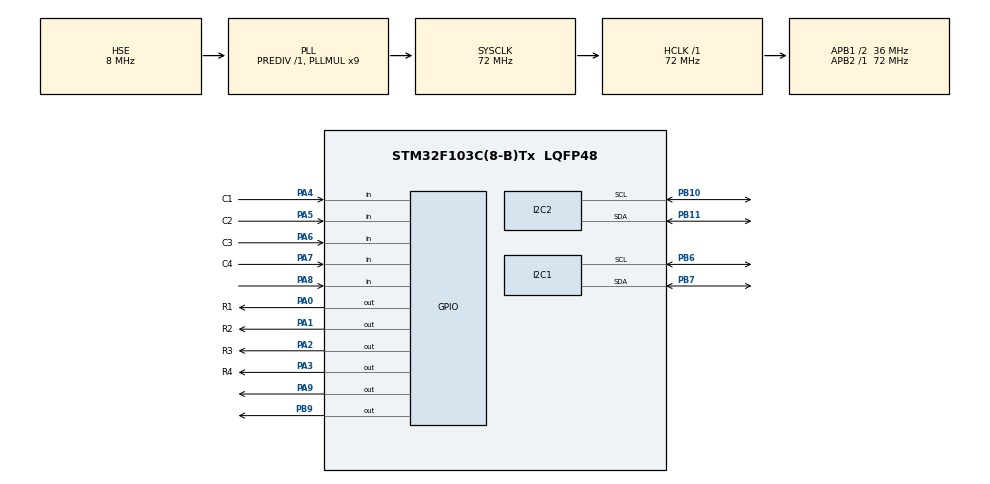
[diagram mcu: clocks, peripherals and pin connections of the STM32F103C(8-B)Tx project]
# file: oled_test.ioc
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I2C1.I2C_Mode=I2C_Fast
I2C2.I2C_Mode=I2C_Fast
Mcu.Family=STM32F1
Mcu.Name=STM32F103C(8-B)Tx
Mcu.Package=LQFP48
NVIC.PriorityGroup=NVIC_PRIORITYGROUP_4
PA0-WKUP.GPIO_Label=R1
PA0-WKUP.Signal=GPIO_Output
PA1.GPIO_Label=R2
PA1.Signal=GPIO_Output
PA13.Mode=Serial_Wire
PA13.Signal=SYS_JTMS-SWDIO
PA14.Mode=Serial_Wire
PA14.Signal=SYS_JTCK-SWCLK
PA2.GPIO_Label=R3
PA2.Signal=GPIO_Output
PA3.GPIO_Label=R4
PA3.Signal=GPIO_Output
PA4.GPIO_Label=C1
PA4.Signal=GPIO_Input
PA5.GPIO_Label=C2
PA5.Signal=GPIO_Input
PA6.GPIO_Label=C3
PA6.Signal=GPIO_Input
PA7.GPIO_Label=C4
PA7.Signal=GPIO_Input
PA8.Signal=GPIO_Input
PA9.Signal=GPIO_Output
PB10.Mode=I2C
PB10.Signal=I2C2_SCL
PB11.Mode=I2C
PB11.Signal=I2C2_SDA
PB6.Mode=I2C
PB6.Signal=I2C1_SCL
PB7.Mode=I2C
PB7.Signal=I2C1_SDA
PB9.Signal=GPIO_Output
PD0-OSC_IN.Mode=HSE-External-Oscillator
PD0-OSC_IN.Signal=RCC_OSC_IN
PD1-OSC_OUT.Mode=HSE-External-Oscillator
PD1-OSC_OUT.Signal=RCC_OSC_OUT
ProjectManager.HeapSize=0x200
ProjectManager.StackSize=0x400
ProjectManager.TargetToolchain=STM32CubeIDE
RCC.AHBFreq_Value=72000000
RCC.APB1CLKDivider=RCC_HCLK_DIV2
RCC.APB1Freq_Value=36000000
RCC.APB1TimFreq_Value=72000000
RCC.APB2Freq_Value=72000000
RCC.APB2TimFreq_Value=72000000
RCC.HCLKFreq_Value=72000000
RCC.PLLMUL=RCC_PLL_MUL9
RCC.PLLSourceVirtual=RCC_PLLSOURCE_HSE
RCC.SYSCLKFreq_VALUE=72000000
RCC.SYSCLKSource=RCC_SYSCLKSOURCE_PLLCLK
RCC.USBFreq_Value=72000000
TIM1.Prescaler=71
VP_TIM1_VS_ClockSourceINT.Mode=Internal
board=custom

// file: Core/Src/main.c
/* USER CODE BEGIN Header */
/**
  ******************************************************************************
  * @file           : main.c
  * @brief          : Main program body
  ******************************************************************************
  * @attention
  *
  * Copyright (c) 2024 STMicroelectronics.
  * All rights reserved.
  *
  * This software is licensed under terms that can be found in the LICENSE file
  * in the root directory of this software component.
  * If no LICENSE file comes with this software, it is provided AS-IS.
  *
  ******************************************************************************
  */
/* USER CODE END Header */
#include "main.h"

/* USER CODE BEGIN Includes */

#include "fonts.h"
#include "ssd1306.h"
#include "stdio.h"

/* USER CODE END Includes */

I2C_HandleTypeDef hi2c1;
I2C_HandleTypeDef hi2c2;

TIM_HandleTypeDef htim1;

/* USER CODE BEGIN PV */

#define TRIG_PIN GPIO_PIN_9
#define TRIG_PORT GPIOA
#define ECHO_PIN GPIO_PIN_8
#define ECHO_PORT GPIOA

uint32_t pMillis = 0;
uint32_t cMillis = 0;

uint32_t Value1 = 0;
uint32_t Value2 = 0;
uint16_t Distance  = 0;  // cm

GPIO_InitTypeDef GPIO_InitStructPrivate = {0};
uint8_t keyPressed = 0;

/* USER CODE END PV */

void SystemClock_Config(void);
static void MX_GPIO_Init(void);
static void MX_I2C1_Init(void);
static void MX_TIM1_Init(void);
static void MX_I2C2_Init(void);

/* USER CODE BEGIN 0 */

#define DHT11_PORT GPIOB
#define DHT11_PIN GPIO_PIN_9
uint8_t RHI, RHD, TCI, TCD, SUM;
//uint32_t pMillis, cMillis;
float tCelsius = 0;
float tFahrenheit = 0;
float RH = 0;
uint8_t TFI = 0;
uint8_t TFD = 0;
char strCopy[15];

void microDelay (uint16_t delay)
{
  __HAL_TIM_SET_COUNTER(&htim1, 0);
  while (__HAL_TIM_GET_COUNTER(&htim1) < delay);
}

uint8_t DHT11_Start (void)
{
  uint8_t Response = 0;
  GPIO_InitTypeDef GPIO_InitStructPrivate = {0};

  GPIO_InitStructPrivate.Pin = DHT11_PIN;
  GPIO_InitStructPrivate.Mode = GPIO_MODE_OUTPUT_PP;
  GPIO_InitStructPrivate.Speed = GPIO_SPEED_FREQ_LOW;
  GPIO_InitStructPrivate.Pull = GPIO_NOPULL;

  HAL_GPIO_Init(DHT11_PORT, &GPIO_InitStructPrivate); // set the pin as output
  HAL_GPIO_WritePin (DHT11_PORT, DHT11_PIN, 0);   // pull the pin low
  HAL_Delay(20);   // wait for 20ms
  HAL_GPIO_WritePin (DHT11_PORT, DHT11_PIN, 1);   // pull the pin high
  microDelay (30);   // wait for 30us

  GPIO_InitStructPrivate.Mode = GPIO_MODE_INPUT;
  GPIO_InitStructPrivate.Pull = GPIO_PULLUP;

  HAL_GPIO_Init(DHT11_PORT, &GPIO_InitStructPrivate); // set the pin as input
  microDelay (40);

  if (!(HAL_GPIO_ReadPin (DHT11_PORT, DHT11_PIN)))
  {
    microDelay (80);
    if ((HAL_GPIO_ReadPin (DHT11_PORT, DHT11_PIN))) Response = 1;
  }

  pMillis = HAL_GetTick();
  cMillis = HAL_GetTick();
  while ((HAL_GPIO_ReadPin (DHT11_PORT, DHT11_PIN)) && pMillis + 2 > cMillis)
  {
    cMillis = HAL_GetTick();
  }
  return Response;
}

uint8_t DHT11_Read (void)
{
  uint8_t a,b;
  for (a=0;a<8;a++)
  {
    pMillis = HAL_GetTick();
    cMillis = HAL_GetTick();
    while (!(HAL_GPIO_ReadPin (DHT11_PORT, DHT11_PIN)) && pMillis + 2 > cMillis)
    {  // wait for the pin to go high
      cMillis = HAL_GetTick();
    }
    microDelay (40);   // wait for 40 us
    if (!(HAL_GPIO_ReadPin (DHT11_PORT, DHT11_PIN)))   // if the pin is low
      b&= ~(1<<(7-a));
    else
      b|= (1<<(7-a));
    pMillis = HAL_GetTick();
    cMillis = HAL_GetTick();
    while ((HAL_GPIO_ReadPin (DHT11_PORT, DHT11_PIN)) && pMillis + 2 > cMillis)
    {  // wait for the pin to go low
      cMillis = HAL_GetTick();
    }
  }
  return b;
}

/* USER CODE END 0 */

int main(void)
{

  /* MCU Configuration--------------------------------------------------------*/

  /* Reset of all peripherals, Initializes the Flash interface and the Systick. */
  HAL_Init();

  /* Configure the system clock */
  SystemClock_Config();

  /* Initialize all configured peripherals */
  MX_GPIO_Init();
  MX_I2C1_Init();
  MX_TIM1_Init();
  MX_I2C2_Init();
  /* USER CODE BEGIN 2 */

  HAL_TIM_Base_Start(&htim1);
  SSD1306_Init();
  HAL_GPIO_WritePin(TRIG_PORT, TRIG_PIN, GPIO_PIN_RESET);  // pull the TRIG pin low
  char snum[5];

  HAL_GPIO_WritePin(GPIOA, GPIO_PIN_0, 1);
  HAL_GPIO_WritePin(GPIOA, GPIO_PIN_1, 1);
  HAL_GPIO_WritePin(GPIOA, GPIO_PIN_2, 1);
  HAL_GPIO_WritePin(GPIOA, GPIO_PIN_3, 1);

//  SSD1306_GotoXY (0,0);
//  SSD1306_Puts ("Rafi", &Font_7x10, 1);
//  SSD1306_GotoXY (0, 30);
//  SSD1306_Puts ("CSE", &Font_7x10, 1);
//  SSD1306_UpdateScreen();
//  HAL_Delay (1000);
////
//  SSD1306_ScrollRight(0,7);
//  HAL_Delay(3000);
//  SSD1306_ScrollLeft(0,7);
//  HAL_Delay(3000);
//  SSD1306_Stopscroll();
//  SSD1306_Clear();
//  SSD1306_GotoXY (35,0);
//  SSD1306_Puts ("SCORE", &Font_7x10, 1);

//  SSD1306_GotoXY (0,0);
//  SSD1306_Puts ("0123456789abcdefgh", &Font_7x10, 1);
//
//  SSD1306_GotoXY (0,12);
//  SSD1306_Puts ("0123456789a", &Font_11x18, 1);
//
//  SSD1306_GotoXY (0, 32);
//  SSD1306_Puts ("0123456", &Font_16x26, 1);
//  SSD1306_GotoXY (0,20);
//  SSD1306_Puts ("2 BCDEFGH jklmnopq", &Font_7x10, 1);
//  SSD1306_GotoXY (0, 30);
//  SSD1306_Puts ("3 bcdefgh JKLMNOPQ", &Font_7x10, 1);
//
//  SSD1306_GotoXY (0,40);
//  SSD1306_Puts ("4 BCDEFGH jklmnopq", &Font_7x10, 1);
//  SSD1306_GotoXY (0, 50);
//  SSD1306_Puts ("5 bcdefgh JKLMNOPQ", &Font_7x10, 1);

//  	SSD1306_GotoXY (0,0);
//    SSD1306_Puts ("0", &Font_7x10, 1);
//    SSD1306_GotoXY (6, 0);
//    SSD1306_Puts ("0", &Font_7x10, 1);
//    SSD1306_GotoXY (20,0);
//    SSD1306_Puts ("2", &Font_7x10, 1);
//    SSD1306_GotoXY (30, 0);
//    SSD1306_Puts ("3", &Font_7x10, 1);
//
//    SSD1306_GotoXY (40,0);
//    SSD1306_Puts ("4", &Font_7x10, 1);
//    SSD1306_GotoXY (50, 0);
//    SSD1306_Puts ("5", &Font_7x10, 1);
//    SSD1306_GotoXY (60, 0);
//    SSD1306_Puts ("6", &Font_7x10, 1);
//    SSD1306_GotoXY (70, 0);
//    SSD1306_Puts ("7", &Font_7x10, 1);
//
//    SSD1306_UpdateScreen();

  /* USER CODE END 2 */

  /* Infinite loop */
  /* USER CODE BEGIN WHILE */
  while (1)
  {
//	  for(int i=0; i<20; i++){
//		  itoa(i, snum, 21);
//		  SSD1306_GotoXY (i*7, 10);
//		  SSD1306_Puts (snum, &Font_11x18, 1);
//		  SSD1306_UpdateScreen();
//		  HAL_Delay (100);
//	  }
//	  for ( int x = 1; x <= 10000 ; x++ )
//	  	{
//	  		itoa(x, snum, 10);
//	  		SSD1306_GotoXY (0, 30);
//	  		SSD1306_Puts ("             ", &Font_16x26, 1);
//	  		SSD1306_UpdateScreen();
//	  		if(x < 10) {
//	  			SSD1306_GotoXY (53, 30);  // 1 DIGIT
//	  		}
//	  		else if (x < 100 ) {
//	  			SSD1306_GotoXY (45, 30);  // 2 DIGITS
//	  		}
//	  		else if (x < 1000 ) {
//	  			SSD1306_GotoXY (37, 30);  // 3 DIGITS
//	  		}
//	  		else {
//	  			SSD1306_GotoXY (30, 30);  // 4 DIGIS
//	  		}
//	  		SSD1306_Puts (snum, &Font_16x26, 1);
//	  		SSD1306_UpdateScreen();
//	  		HAL_Delay (500);
//	  	}

	  HAL_GPIO_WritePin(TRIG_PORT, TRIG_PIN, GPIO_PIN_SET);  // pull the TRIG pin HIGH
	  __HAL_TIM_SET_COUNTER(&htim1, 0);
	  while (__HAL_TIM_GET_COUNTER (&htim1) < 10);  // wait for 10 us
	  HAL_GPIO_WritePin(TRIG_PORT, TRIG_PIN, GPIO_PIN_RESET);  // pull the TRIG pin low

	  pMillis = HAL_GetTick(); // used this to avoid infinite while loop  (for timeout)
	  // wait for the echo pin to go high
	  while (!(HAL_GPIO_ReadPin (ECHO_PORT, ECHO_PIN)) && pMillis + 10 >  HAL_GetTick());
	  Value1 = __HAL_TIM_GET_COUNTER (&htim1);

	  pMillis = HAL_GetTick(); // used this to avoid infinite while loop (for timeout)
	  // wait for the echo pin to go low
	  while ((HAL_GPIO_ReadPin (ECHO_PORT, ECHO_PIN)) && pMillis + 50 > HAL_GetTick());
	  Value2 = __HAL_TIM_GET_COUNTER (&htim1);

	  Distance = (Value2-Value1)* 0.034/2;

	  itoa(Distance, snum, 10);

	  SSD1306_GotoXY (84, 0);
	  SSD1306_Puts (snum, &Font_7x10, 1);
//	  SSD1306_UpdateScreen();
//	  HAL_Delay(50);

	  if(DHT11_Start())
	      {
	        RHI = DHT11_Read(); // Relative humidity integral
	        RHD = DHT11_Read(); // Relative humidity decimal
	        TCI = DHT11_Read(); // Celsius integral
	        TCD = DHT11_Read(); // Celsius decimal
	        SUM = DHT11_Read(); // Check sum
	        if (RHI + RHD + TCI + TCD == SUM)
	        {
	          // Can use RHI and TCI for any purposes if whole number only needed
	          tCelsius = (float)TCI + (float)(TCD/10.0);
	          tFahrenheit = tCelsius * 9/5 + 32;
	          RH = (float)RHI + (float)(RHD/10.0);
	          // Can use tCelsius, tFahrenheit and RH for any purposes
	          TFI = tFahrenheit;  // Fahrenheit integral
	          TFD = tFahrenheit*10-TFI*10; // Fahrenheit decimal
	          sprintf(strCopy,"%d.%d C   ", TCI, TCD);
	          SSD1306_GotoXY (0, 0);
	          SSD1306_Puts (strCopy, &Font_11x18, 1);
	          sprintf(strCopy,"%d.%d F   ", TFI, TFD);
	          SSD1306_GotoXY (0, 20);
	          SSD1306_Puts (strCopy, &Font_11x18, 1);
	          sprintf(strCopy,"%d.%d %%  ", RHI, RHD);
	          SSD1306_GotoXY (0, 40);
	          SSD1306_Puts (strCopy, &Font_11x18, 1);
//	          SSD1306_UpdateScreen();
	        }
	      }
	  	  SSD1306_UpdateScreen();
//	      HAL_Delay(50);
    /* USER CODE END WHILE */

  }
}

void SystemClock_Config(void)
{
  RCC_OscInitTypeDef RCC_OscInitStruct = {0};
  RCC_ClkInitTypeDef RCC_ClkInitStruct = {0};

  /** Initializes the RCC Oscillators according to the specified parameters
  * in the RCC_OscInitTypeDef structure.
  */
  RCC_OscInitStruct.OscillatorType = RCC_OSCILLATORTYPE_HSE;
  RCC_OscInitStruct.HSEState = RCC_HSE_ON;
  RCC_OscInitStruct.HSEPredivValue = RCC_HSE_PREDIV_DIV1;
  RCC_OscInitStruct.HSIState = RCC_HSI_ON;
  RCC_OscInitStruct.PLL.PLLState = RCC_PLL_ON;
  RCC_OscInitStruct.PLL.PLLSource = RCC_PLLSOURCE_HSE;
  RCC_OscInitStruct.PLL.PLLMUL = RCC_PLL_MUL9;
  if (HAL_RCC_OscConfig(&RCC_OscInitStruct) != HAL_OK)
  {
    Error_Handler();
  }

  /** Initializes the CPU, AHB and APB buses clocks
  */
  RCC_ClkInitStruct.ClockType = RCC_CLOCKTYPE_HCLK|RCC_CLOCKTYPE_SYSCLK
                              |RCC_CLOCKTYPE_PCLK1|RCC_CLOCKTYPE_PCLK2;
  RCC_ClkInitStruct.SYSCLKSource = RCC_SYSCLKSOURCE_PLLCLK;
  RCC_ClkInitStruct.AHBCLKDivider = RCC_SYSCLK_DIV1;
  RCC_ClkInitStruct.APB1CLKDivider = RCC_HCLK_DIV2;
  RCC_ClkInitStruct.APB2CLKDivider = RCC_HCLK_DIV1;

  if (HAL_RCC_ClockConfig(&RCC_ClkInitStruct, FLASH_LATENCY_2) != HAL_OK)
  {
    Error_Handler();
  }
}

static void MX_I2C1_Init(void)
{

  hi2c1.Instance = I2C1;
  hi2c1.Init.ClockSpeed = 400000;
  hi2c1.Init.DutyCycle = I2C_DUTYCYCLE_2;
  hi2c1.Init.OwnAddress1 = 0;
  hi2c1.Init.AddressingMode = I2C_ADDRESSINGMODE_7BIT;
  hi2c1.Init.DualAddressMode = I2C_DUALADDRESS_DISABLE;
  hi2c1.Init.OwnAddress2 = 0;
  hi2c1.Init.GeneralCallMode = I2C_GENERALCALL_DISABLE;
  hi2c1.Init.NoStretchMode = I2C_NOSTRETCH_DISABLE;
  if (HAL_I2C_Init(&hi2c1) != HAL_OK)
  {
    Error_Handler();
  }

}

static void MX_I2C2_Init(void)
{

  hi2c2.Instance = I2C2;
  hi2c2.Init.ClockSpeed = 400000;
  hi2c2.Init.DutyCycle = I2C_DUTYCYCLE_2;
  hi2c2.Init.OwnAddress1 = 0;
  hi2c2.Init.AddressingMode = I2C_ADDRESSINGMODE_7BIT;
  hi2c2.Init.DualAddressMode = I2C_DUALADDRESS_DISABLE;
  hi2c2.Init.OwnAddress2 = 0;
  hi2c2.Init.GeneralCallMode = I2C_GENERALCALL_DISABLE;
  hi2c2.Init.NoStretchMode = I2C_NOSTRETCH_DISABLE;
  if (HAL_I2C_Init(&hi2c2) != HAL_OK)
  {
    Error_Handler();
  }

}

static void MX_TIM1_Init(void)
{

  TIM_ClockConfigTypeDef sClockSourceConfig = {0};
  TIM_MasterConfigTypeDef sMasterConfig = {0};

  htim1.Instance = TIM1;
  htim1.Init.Prescaler = 71;
  htim1.Init.CounterMode = TIM_COUNTERMODE_UP;
  htim1.Init.Period = 65535;
  htim1.Init.ClockDivision = TIM_CLOCKDIVISION_DIV1;
  htim1.Init.RepetitionCounter = 0;
  htim1.Init.AutoReloadPreload = TIM_AUTORELOAD_PRELOAD_DISABLE;
  if (HAL_TIM_Base_Init(&htim1) != HAL_OK)
  {
    Error_Handler();
  }
  sClockSourceConfig.ClockSource = TIM_CLOCKSOURCE_INTERNAL;
  if (HAL_TIM_ConfigClockSource(&htim1, &sClockSourceConfig) != HAL_OK)
  {
    Error_Handler();
  }
  sMasterConfig.MasterOutputTrigger = TIM_TRGO_RESET;
  sMasterConfig.MasterSlaveMode = TIM_MASTERSLAVEMODE_DISABLE;
  if (HAL_TIMEx_MasterConfigSynchronization(&htim1, &sMasterConfig) != HAL_OK)
  {
    Error_Handler();
  }

}

static void MX_GPIO_Init(void)
{
  GPIO_InitTypeDef GPIO_InitStruct = {0};

  /* GPIO Ports Clock Enable */
  __HAL_RCC_GPIOD_CLK_ENABLE();
  __HAL_RCC_GPIOA_CLK_ENABLE();
  __HAL_RCC_GPIOB_CLK_ENABLE();

  /*Configure GPIO pin Output Level */
  HAL_GPIO_WritePin(GPIOA, R1_Pin|R2_Pin|R3_Pin|R4_Pin
                          |GPIO_PIN_9, GPIO_PIN_RESET);

  /*Configure GPIO pin Output Level */
  HAL_GPIO_WritePin(GPIOB, GPIO_PIN_9, GPIO_PIN_RESET);

  /*Configure GPIO pins : R1_Pin R2_Pin R3_Pin R4_Pin
                           PA9 */
  GPIO_InitStruct.Pin = R1_Pin|R2_Pin|R3_Pin|R4_Pin
                          |GPIO_PIN_9;
  GPIO_InitStruct.Mode = GPIO_MODE_OUTPUT_PP;
  GPIO_InitStruct.Pull = GPIO_NOPULL;
  GPIO_InitStruct.Speed = GPIO_SPEED_FREQ_LOW;
  HAL_GPIO_Init(GPIOA, &GPIO_InitStruct);

  /*Configure GPIO pins : C1_Pin C2_Pin C3_Pin C4_Pin
                           PA8 */
  GPIO_InitStruct.Pin = C1_Pin|C2_Pin|C3_Pin|C4_Pin
                          |GPIO_PIN_8;
  GPIO_InitStruct.Mode = GPIO_MODE_INPUT;
  GPIO_InitStruct.Pull = GPIO_NOPULL;
  HAL_GPIO_Init(GPIOA, &GPIO_InitStruct);

  /*Configure GPIO pin : PB9 */
  GPIO_InitStruct.Pin = GPIO_PIN_9;
  GPIO_InitStruct.Mode = GPIO_MODE_OUTPUT_PP;
  GPIO_InitStruct.Pull = GPIO_NOPULL;
  GPIO_InitStruct.Speed = GPIO_SPEED_FREQ_LOW;
  HAL_GPIO_Init(GPIOB, &GPIO_InitStruct);

}

/* USER CODE BEGIN 4 */

//void HAL_GPIO_EXTI_Callback(uint16_t GPIO_Pin)
//{
//  cMillis = HAL_GetTick();
//  if (cMillis - pMillis > 10) {
//    /*Configure GPIO pins : PB6 PB7 PB8 PB9 to GPIO_INPUT*/
//    GPIO_InitStructPrivate.Pin = GPIO_PIN_4|GPIO_PIN_4|GPIO_PIN_6|GPIO_PIN_7;
//    GPIO_InitStructPrivate.Mode = GPIO_MODE_INPUT;
//    GPIO_InitStructPrivate.Pull = GPIO_NOPULL;
//    GPIO_InitStructPrivate.Speed = GPIO_SPEED_FREQ_LOW;
//    HAL_GPIO_Init(GPIOA, &GPIO_InitStructPrivate);
//
//    HAL_GPIO_WritePin(GPIOA, GPIO_PIN_0, 1);
//    HAL_GPIO_WritePin(GPIOA, GPIO_PIN_1, 0);
//    HAL_GPIO_WritePin(GPIOA, GPIO_PIN_2, 0);
//    HAL_GPIO_WritePin(GPIOA, GPIO_PIN_3, 0);
//    if(GPIO_Pin == GPIO_PIN_4 && HAL_GPIO_ReadPin(GPIOA, GPIO_PIN_4))
//    {
//      keyPressed = 68; //ASCII value of D
//    }
//    else if(GPIO_Pin == GPIO_PIN_5 && HAL_GPIO_ReadPin(GPIOA, GPIO_PIN_5))
//    {
//      keyPressed = 67; //ASCII value of C
//    }
//    else if(GPIO_Pin == GPIO_PIN_6 && HAL_GPIO_ReadPin(GPIOA, GPIO_PIN_6))
//    {
//      keyPressed = 66; //ASCII value of B
//    }
//    else if(GPIO_Pin == GPIO_PIN_7 && HAL_GPIO_ReadPin(GPIOA, GPIO_PIN_7))
//    {
//      keyPressed = 65; //ASCII value of A
//    }
//
//    HAL_GPIO_WritePin(GPIOA, GPIO_PIN_0, 0);
//    HAL_GPIO_WritePin(GPIOB, GPIO_PIN_1, 1);
//    HAL_GPIO_WritePin(GPIOB, GPIO_PIN_2, 0);
//    HAL_GPIO_WritePin(GPIOB, GPIO_PIN_3, 0);
//    if(GPIO_Pin == GPIO_PIN_4 && HAL_GPIO_ReadPin(GPIOA, GPIO_PIN_4))
//    {
//      keyPressed = 35; //ASCII value of #
//    }
//    else if(GPIO_Pin == GPIO_PIN_5 && HAL_GPIO_ReadPin(GPIOA, GPIO_PIN_5))
//    {
//      keyPressed = 57; //ASCII value of 9
//    }
//    else if(GPIO_Pin == GPIO_PIN_6 && HAL_GPIO_ReadPin(GPIOA, GPIO_PIN_6))
//    {
//      keyPressed = 54; //ASCII value of 6
//    }
//    else if(GPIO_Pin == GPIO_PIN_7 && HAL_GPIO_ReadPin(GPIOA, GPIO_PIN_7))
//    {
//      keyPressed = 51; //ASCII value of 3
//    }
//
//    HAL_GPIO_WritePin(GPIOA, GPIO_PIN_0, 0);
//    HAL_GPIO_WritePin(GPIOB, GPIO_PIN_1, 0);
//    HAL_GPIO_WritePin(GPIOB, GPIO_PIN_2, 1);
//    HAL_GPIO_WritePin(GPIOB, GPIO_PIN_3, 0);
//    if(GPIO_Pin == GPIO_PIN_4 && HAL_GPIO_ReadPin(GPIOA, GPIO_PIN_4))
//    {
//      keyPressed = 48; //ASCII value of 0
//    }
//    else if(GPIO_Pin == GPIO_PIN_5 && HAL_GPIO_ReadPin(GPIOA, GPIO_PIN_5))
//    {
//      keyPressed = 56; //ASCII value of 8
//    }
//    else if(GPIO_Pin == GPIO_PIN_6 && HAL_GPIO_ReadPin(GPIOA, GPIO_PIN_6))
//    {
//      keyPressed = 53; //ASCII value of 5
//    }
//    else if(GPIO_Pin == GPIO_PIN_7 && HAL_GPIO_ReadPin(GPIOA, GPIO_PIN_7))
//    {
//      keyPressed = 50; //ASCII value of 2
//    }
//
//    HAL_GPIO_WritePin(GPIOA, GPIO_PIN_0, 0);
//    HAL_GPIO_WritePin(GPIOB, GPIO_PIN_1, 0);
//    HAL_GPIO_WritePin(GPIOB, GPIO_PIN_2, 0);
//    HAL_GPIO_WritePin(GPIOB, GPIO_PIN_3, 1);
//    if(GPIO_Pin == GPIO_PIN_4 && HAL_GPIO_ReadPin(GPIOA, GPIO_PIN_4))
//    {
//      keyPressed = 42; //ASCII value of *
//    }
//    else if(GPIO_Pin == GPIO_PIN_5 && HAL_GPIO_ReadPin(GPIOA, GPIO_PIN_5))
//    {
//      keyPressed = 55; //ASCII value of 7
//    }
//    else if(GPIO_Pin == GPIO_PIN_6 && HAL_GPIO_ReadPin(GPIOA, GPIO_PIN_6))
//    {
//      keyPressed = 52; //ASCII value of 4
//    }
//    else if(GPIO_Pin == GPIO_PIN_7 && HAL_GPIO_ReadPin(GPIOA, GPIO_PIN_7))
//    {
//      keyPressed = 49; //ASCII value of 1
//    }
//
//    HAL_GPIO_WritePin(GPIOA, GPIO_PIN_0, 1);
//    HAL_GPIO_WritePin(GPIOB, GPIO_PIN_1, 1);
//    HAL_GPIO_WritePin(GPIOB, GPIO_PIN_2, 1);
//    HAL_GPIO_WritePin(GPIOB, GPIO_PIN_3, 1);
//    /*Configure GPIO pins : PB6 PB7 PB8 PB9 back to EXTI*/
//    GPIO_InitStructPrivate.Mode = GPIO_MODE_IT_RISING;
//    GPIO_InitStructPrivate.Pull = GPIO_PULLDOWN;
//    HAL_GPIO_Init(GPIOA, &GPIO_InitStructPrivate);
//    pMillis = cMillis;
//  }
//}

void Keys_Detect(void)
{
	/* Setting Row 1 ad High and others LOW */
	HAL_GPIO_WritePin(GPIOA, R1_Pin, GPIO_PIN_SET);
	HAL_GPIO_WritePin(GPIOA, R2_Pin, GPIO_PIN_RESET);
	HAL_GPIO_WritePin(GPIOA, R3_Pin, GPIO_PIN_RESET);
	HAL_GPIO_WritePin(GPIOA, R4_Pin, GPIO_PIN_RESET);

	if(HAL_GPIO_ReadPin(GPIOA, C1_Pin) == GPIO_PIN_SET)
	{
		/* 1 */
		keyPressed = 49; //ASCII value of 1
		while (HAL_GPIO_ReadPin (GPIOA, C1_Pin));
	}

	if(HAL_GPIO_ReadPin(GPIOA, C2_Pin) == GPIO_PIN_SET)
	{
		/* 2 */
		keyPressed = 50; //ASCII value of 2
		while (HAL_GPIO_ReadPin (GPIOA, C2_Pin));
	}

	if(HAL_GPIO_ReadPin(GPIOA, C3_Pin) == GPIO_PIN_SET)
	{
		/* 3 */
		keyPressed = 51; //ASCII value of 2
		while (HAL_GPIO_ReadPin (GPIOA, C3_Pin));
	}

	if(HAL_GPIO_ReadPin(GPIOA, C4_Pin) == GPIO_PIN_SET)
	{
		/* A */
		keyPressed = 65; //ASCII value of 2
		while (HAL_GPIO_ReadPin (GPIOA, C4_Pin));
	}

	/* Setting Row 2 ad High and others LOW */
	HAL_GPIO_WritePin(GPIOA, R1_Pin, GPIO_PIN_RESET);
	HAL_GPIO_WritePin(GPIOA, R2_Pin, GPIO_PIN_SET);
	HAL_GPIO_WritePin(GPIOA, R3_Pin, GPIO_PIN_RESET);
	HAL_GPIO_WritePin(GPIOA, R4_Pin, GPIO_PIN_RESET);

	if(HAL_GPIO_ReadPin(GPIOA, C1_Pin) == GPIO_PIN_SET)
	{
		/* 4 */
		keyPressed = 52; //ASCII value of 2
		while (HAL_GPIO_ReadPin (GPIOA, C1_Pin));
	}

	if(HAL_GPIO_ReadPin(GPIOA, C2_Pin) == GPIO_PIN_SET)
	{
		/* 5 */
		keyPressed = 53; //ASCII value of 2
		while (HAL_GPIO_ReadPin (GPIOA, C2_Pin));
	}

	if(HAL_GPIO_ReadPin(GPIOA, C3_Pin) == GPIO_PIN_SET)
	{
		/* 6 */
		keyPressed = 54; //ASCII value of 2
		while (HAL_GPIO_ReadPin (GPIOA, C3_Pin));
	}

	if(HAL_GPIO_ReadPin(GPIOA, C4_Pin) == GPIO_PIN_SET)
	{
		/* B */
		keyPressed = 66; //ASCII value of 2
		while (HAL_GPIO_ReadPin (GPIOA, C4_Pin));
	}

	/* Setting Row 3 ad High and others LOW */
	HAL_GPIO_WritePin(GPIOA, R1_Pin, GPIO_PIN_RESET);
	HAL_GPIO_WritePin(GPIOA, R2_Pin, GPIO_PIN_RESET);
	HAL_GPIO_WritePin(GPIOA, R3_Pin, GPIO_PIN_SET);
	HAL_GPIO_WritePin(GPIOA, R4_Pin, GPIO_PIN_RESET);

	if(HAL_GPIO_ReadPin(GPIOA, C1_Pin) == GPIO_PIN_SET)
	{
		/* 7 */
		keyPressed = 55; //ASCII value of 2
		while (HAL_GPIO_ReadPin (GPIOA, C1_Pin));
	}

	if(HAL_GPIO_ReadPin(GPIOA, C2_Pin) == GPIO_PIN_SET)
	{
		/* 8 */
		keyPressed = 56; //ASCII value of 2
		while (HAL_GPIO_ReadPin (GPIOA, C2_Pin));
	}

	if(HAL_GPIO_ReadPin(GPIOA, C3_Pin) == GPIO_PIN_SET)
	{
		/* 9 */
		keyPressed = 57; //ASCII value of 2
		while (HAL_GPIO_ReadPin (GPIOA, C3_Pin));
	}

	if(HAL_GPIO_ReadPin(GPIOA, C4_Pin) == GPIO_PIN_SET)
	{
		/* C */
		keyPressed = 67; //ASCII value of 2
		while (HAL_GPIO_ReadPin (GPIOA, C4_Pin));
	}

	/* Setting Row 4 ad High and others LOW */
	HAL_GPIO_WritePin(GPIOA, R1_Pin, GPIO_PIN_RESET);
	HAL_GPIO_WritePin(GPIOA, R2_Pin, GPIO_PIN_RESET);
	HAL_GPIO_WritePin(GPIOA, R3_Pin, GPIO_PIN_RESET);
	HAL_GPIO_WritePin(GPIOA, R4_Pin, GPIO_PIN_SET);

	if(HAL_GPIO_ReadPin(GPIOA, C1_Pin) == GPIO_PIN_SET)
	{
		/* * */
		keyPressed = 42; //ASCII value of 2
		while (HAL_GPIO_ReadPin (GPIOA, C1_Pin));
	}

	if(HAL_GPIO_ReadPin(GPIOA, C2_Pin) == GPIO_PIN_SET)
	{
		/* 0 */
		keyPressed = 48; //ASCII value of 2
		while (HAL_GPIO_ReadPin (GPIOA, C2_Pin));
	}

	if(HAL_GPIO_ReadPin(GPIOA, C3_Pin) == GPIO_PIN_SET)
	{
		/* # */
		keyPressed = 35; //ASCII value of 2
		while (HAL_GPIO_ReadPin (GPIOA, C3_Pin));
	}

	if(HAL_GPIO_ReadPin(GPIOA, C4_Pin) == GPIO_PIN_SET)
	{
		/* D */
		keyPressed = 68; //ASCII value of 2
		while (HAL_GPIO_ReadPin (GPIOA, C4_Pin));
	}
}

/* USER CODE END 4 */

void Error_Handler(void)
{
  __disable_irq();
  while (1)
  {
  }
}
